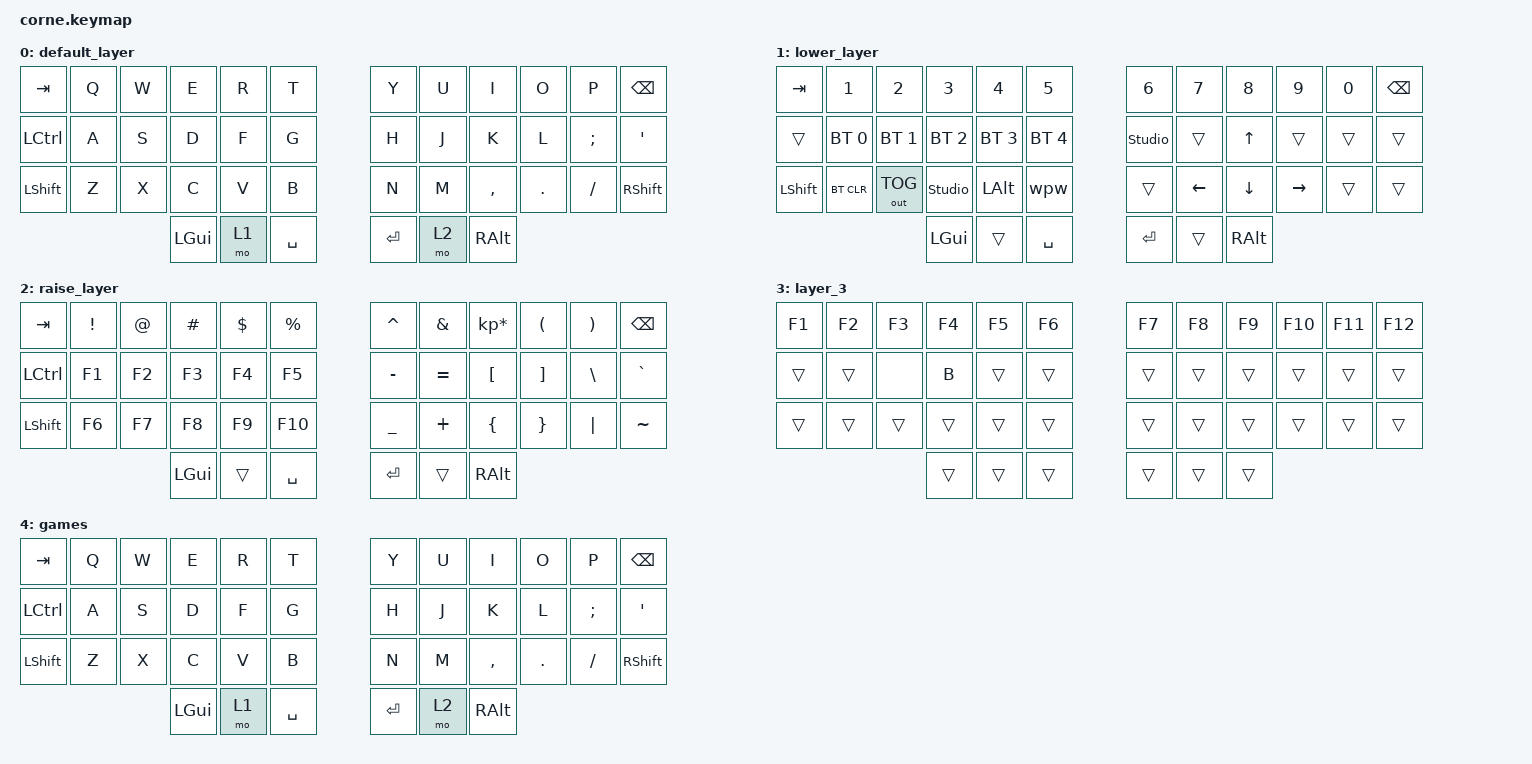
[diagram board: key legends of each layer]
/*
 * Copyright (c) 2020 The ZMK Contributors
 *
 * SPDX-License-Identifier: MIT
 */

#include <behaviors.dtsi>
#include <dt-bindings/zmk/bt.h>
#include <dt-bindings/zmk/keys.h>
#include <dt-bindings/zmk/outputs.h>

/ {
    combos {
        compatible = "zmk,combos";

        a {
            bindings = <&kp DELETE>;
            key-positions = <10 11>;
            layers = <0>;
        };

        esc_combo {
            bindings = <&kp ESC>;
            key-positions = <23 22>;
            layers = <0>;
        };
    };

    macros {
        wpw: wpw {
            compatible = "zmk,behavior-macro";
            #binding-cells = <0>;
            bindings = <&none &kp AT &kp R &kp C &kp H &kp I &kp E &kp DLLR &kp U &kp D &kp N0 &kp LS(R) &kp EXCL &kp V &kp N3 &kp R &kp N5 &kp N3 &kp N8 &kp N7>;
            label = "WPW";
        };
    };

    keymap {
        compatible = "zmk,keymap";

        default_layer {
            // -----------------------------------------------------------------------------------------
            // |  TAB |  Q  |  W  |  E  |  R  |  T  |   |  Y  |  U   |  I  |  O  |  P  | BKSP |
            // | CTRL |  A  |  S  |  D  |  F  |  G  |   |  H  |  J   |  K  |  L  |  ;  |  '   |
            // | SHFT |  Z  |  X  |  C  |  V  |  B  |   |  N  |  M   |  ,  |  .  |  /  | SHIFT  |
            //                    | GUI | LWR | SPC |   | ENT | RSE  | ALT |

            bindings = <
&kp TAB    &kp Q  &kp W  &kp E     &kp R  &kp T        &kp Y    &kp U  &kp I      &kp O    &kp P     &kp BSPC
&kp LCTRL  &kp A  &kp S  &kp D     &kp F  &kp G        &kp H    &kp J  &kp K      &kp L    &kp SEMI  &kp SQT
&kp LSHFT  &kp Z  &kp X  &kp C     &kp V  &kp B        &kp N    &kp M  &kp COMMA  &kp DOT  &kp FSLH  &kp RSHFT
                         &kp LGUI  &mo 1  &kp SPACE    &kp RET  &mo 2  &kp RALT
            >;
        };

        lower_layer {
            // -----------------------------------------------------------------------------------------
            // |  TAB |  1  |  2  |  3  |  4  |  5  |   |  6  |  7  |  8  |  9  |  0  | BKSP |
            // | BTCLR| BT1 | BT2 | BT3 | BT4 | BT5 |   | LFT | DWN |  UP | RGT |     |      |
            // | SHFT |     |     |     |     |     |   |     |     |     |     |     |      |
            //                    | GUI |     | SPC |   | ENT |     | ALT |

            bindings = <
&kp TAB    &kp N1        &kp N2        &kp N3          &kp N4        &kp N5          &kp N6          &kp N7          &kp N8          &kp N9           &kp N0  &kp BSPC
&trans     &bt BT_SEL 0  &bt BT_SEL 1  &bt BT_SEL 2    &bt BT_SEL 3  &bt BT_SEL 4    &studio_unlock  &trans          &kp UP          &trans           &trans  &trans
&kp LSHFT  &bt BT_CLR    &out OUT_TOG  &studio_unlock  &kp LEFT_ALT  &wpw            &trans          &kp LEFT_ARROW  &kp DOWN_ARROW  &kp RIGHT_ARROW  &trans  &trans
                                       &kp LGUI        &trans        &kp SPACE       &kp RET         &trans          &kp RALT
            >;
        };

        raise_layer {
            // -----------------------------------------------------------------------------------------
            // |  TAB |  !  |  @  |  #  |  $  |  %  |   |  ^  |  &  |  *  |  (  |  )  | BKSP |
            // | CTRL |     |     |     |     |     |   |  -  |  =  |  [  |  ]  |  \  |  `   |
            // | SHFT |     |     |     |     |     |   |  _  |  +  |  {  |  }  | "|" |  ~   |
            //                    | GUI |     | SPC |   | ENT |     | ALT |

            bindings = <
&kp TAB    &kp EXCL  &kp AT  &kp HASH  &kp DLLR  &kp PRCNT    &kp CARET  &kp AMPS   &kp KP_MULTIPLY  &kp LPAR  &kp RPAR  &kp BSPC
&kp LCTRL  &kp F1    &kp F2  &kp F3    &kp F4    &kp F5       &kp MINUS  &kp EQUAL  &kp LBKT         &kp RBKT  &kp BSLH  &kp GRAVE
&kp LSHFT  &kp F6    &kp F7  &kp F8    &kp F9    &kp F10      &kp UNDER  &kp PLUS   &kp LBRC         &kp RBRC  &kp PIPE  &kp TILDE
                             &kp LGUI  &trans    &kp SPACE    &kp RET    &trans     &kp RALT
            >;
        };

        layer_3 {
            bindings = <
&kp F1  &kp F2  &kp F3  &kp F4  &kp F5  &kp F6    &kp F7  &kp F8  &kp F9  &kp F10  &kp F11  &kp F12
&trans  &trans  &none   &kp B   &trans  &trans    &trans  &trans  &trans  &trans   &trans   &trans
&trans  &trans  &trans  &trans  &trans  &trans    &trans  &trans  &trans  &trans   &trans   &trans
                        &trans  &trans  &trans    &trans  &trans  &trans
            >;
        };

        games {
            bindings = <
&kp TAB    &kp Q  &kp W  &kp E     &kp R  &kp T        &kp Y    &kp U  &kp I      &kp O    &kp P     &kp BSPC
&kp LCTRL  &kp A  &kp S  &kp D     &kp F  &kp G        &kp H    &kp J  &kp K      &kp L    &kp SEMI  &kp SQT
&kp LSHFT  &kp Z  &kp X  &kp C     &kp V  &kp B        &kp N    &kp M  &kp COMMA  &kp DOT  &kp FSLH  &kp RSHFT
                         &kp LGUI  &mo 1  &kp SPACE    &kp RET  &mo 2  &kp RALT
            >;
        };
    };
};
